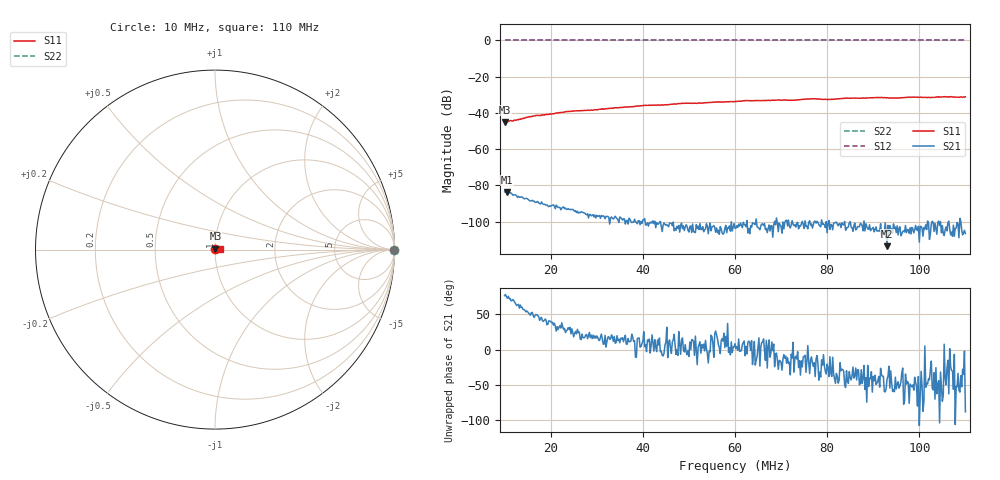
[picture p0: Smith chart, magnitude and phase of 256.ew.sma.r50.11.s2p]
! Anritsu VNA Master:  Model: MS2036C/10/77
! SN:  1601066
! /card0/usr/256.ew.sma.r50.11.s2p
! Existing Calibration Information:
! TYPE:  Current Settings,  Active Cal Settings
! TIME:  12/19/2017 02:29:56 PM,  12/19/2017 02:22:10 PM
! INTERNAL TEMP:  45.8 C,  45.0 C
! # POINTS:  501,  501
! START FREQ:  10.000 MHz,  10.000 MHz
! STOP FREQ:  110.000 MHz,  110.000 MHz
! SOURCE POWER:  High,  High
! IFBW:  100 Hz,  100 Hz
! AVG FACTOR:  1 ,  1
! REF PLANE 1:  0 mm,  0 mm
! REF PLANE 2:  0 mm,  0 mm
! CAL TYPE:  Full S11,  Full S11
! CAL METHOD:  SOLT,  SOLT
! CAL LINE TYPE:  Coax,  Coax
! DUT PORT 1:  N-Conn(F),  N-Conn(F)
! DUT PORT 2:  K-Conn(F),  K-Conn(F)
! CAL STATUS:  OK: Accuracy High,  --
# GHZ S RI R 50.0
! FREQ.GHZ  S11RE  S11IM  S21RE  S21IM  S12RE  S12IM  S22RE  S22IM
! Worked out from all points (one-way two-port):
!   501 points, 10 MHz to 110 MHz, reference 50 ohm
!   highest |S21| = -83.53 dB at 10.6 MHz (marker M1); lowest = -113.5 dB at 93 MHz (marker M2)
!   lowest |S11| = -44.9 dB at 10 MHz (marker M3), VSWR 1.01, Z = 50.2 + j0.517 ohm
!   |S11| at or under -10 dB: start of sweep to end of sweep
!   |S22| runs from 0.0 to 0.0 dB; largest |S21 - S12| = 1
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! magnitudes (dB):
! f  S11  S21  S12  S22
! 10 MHz  -44.9  -83.5  0.0  0.0
! 10.6 MHz  -44.6  -83.5  0.0  0.0
! 12.2 MHz  -44.0  -85.1  0.0  0.0
! 16.6 MHz  -41.6  -89.2  0.0  0.0
! 20 MHz  -40.7  -91.5  0.0  0.0
! 23.8 MHz  -39.1  -92.8  0.0  0.0
! 26.8 MHz  -38.7  -94.7  0.0  0.0
! 40.2 MHz  -35.8  -99.0  0.0  0.0
! 43.4 MHz  -35.6  -101.2  0.0  0.0
! 48.8 MHz  -34.7  -102.3  0.0  0.0
! 51.6 MHz  -34.8  -101.6  0.0  0.0
! 60 MHz  -33.7  -103.6  0.0  0.0
! 62.4 MHz  -33.2  -102.8  0.0  0.0
! 72.4 MHz  -33.0  -99.4  0.0  0.0
! 76.8 MHz  -32.1  -103.5  0.0  0.0
! 80.4 MHz  -32.6  -99.3  0.0  0.0
! 84 MHz  -31.9  -104.7  0.0  0.0
! 93 MHz  -31.7  -113.5  0.0  0.0
! 93.4 MHz  -31.7  -107.4  0.0  0.0
! 95.2 MHz  -31.8  -102.3  0.0  0.0
! 98.4 MHz  -31.3  -103.1  0.0  0.0
! 110 MHz  -31.0  -106.5  0.0  0.0
